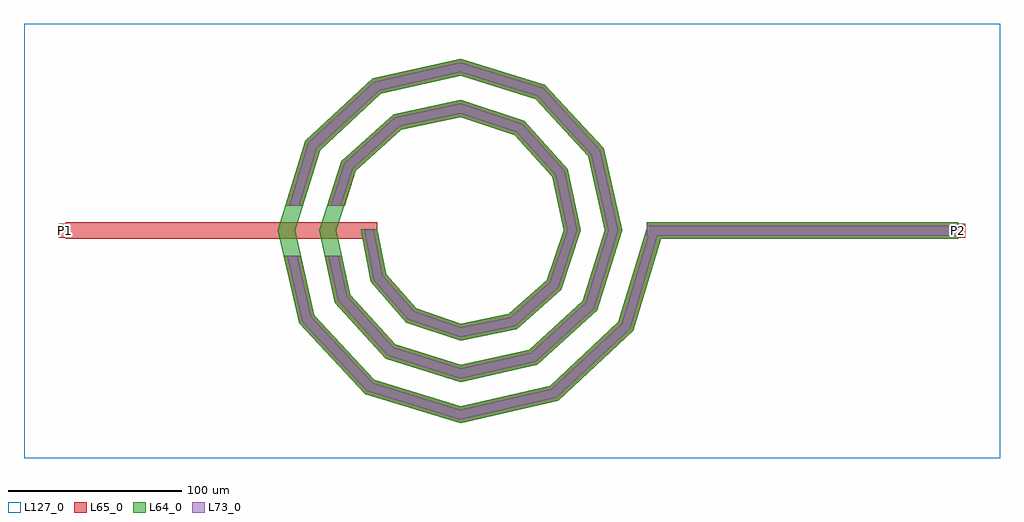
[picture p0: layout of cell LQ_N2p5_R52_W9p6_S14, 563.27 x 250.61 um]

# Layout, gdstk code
import gdstk
lib = gdstk.Library(unit=1e-6, precision=1e-09)
def R(c, l, rs):  # rectangles x0, y0, x1, y1
    for r in rs: c.add(gdstk.rectangle(r[:2], r[2:], *l))
def P(c, l, *ps):  # polygons
    for p in ps: c.add(gdstk.Polygon(p, *l))
L64_0 = (64, 0)
L65_0 = (65, 0)
L73_0 = (73, 0)
L127_0 = (127, 0)

lq_n2p5_r52_w9p6_s14 = lib.new_cell('LQ_N2p5_R52_W9p6_S14')
R(lq_n2p5_r52_w9p6_s14, L64_0, [(107.477,-4.8,287.477,4.8)])
P(lq_n2p5_r52_w9p6_s14, L64_0, [(-42.81,-25.106),(-25.526,-44.864),(0.315,-53.605),(28.06,-47.994),(50.015,-28.536),(59.571,0.286),(53.174,31.02),(31.542,55.17),(0.261,65.538),(-33.984,58.353),(-60.326,34.544),(-71.505,0.241),(-63.53,-36.951),(-37.543,-65.485),(0.224,-77.472),(39.92,-68.706),(70.645,-40.54),(83.44,0.209),(73.881,42.891),(43.536,75.806),(0.195,89.407),(-45.864,79.056),(-80.968,46.53),(-95.374,0.184),(-84.229,-48.838),(-49.523,-86.13),(0.173,-101.342),(51.813,-89.402),(91.294,-52.515),(107.684,1.396),(116.869,-1.396),(99.729,-57.772),(56.485,-98.175),(0.173,-111.275),(-54.796,-94.556),(-93.012,-53.492),(-105.307,0.184),(-89.382,51.821),(-50.498,87.849),(0.195,99.339),(48.848,84.207),(82.686,47.503),(93.371,0.209),(79.032,-45.875),(44.507,-77.525),(0.224,-87.402),(-42.905,-73.855),(-72.364,-41.508),(-81.434,0.241),(-68.677,39.936),(-38.507,67.205),(0.261,75.465),(36.971,63.497),(62.047,35.503),(69.496,0.286),(58.315,-34.008),(32.495,-56.891),(0.315,-63.527),(-31.05,-53.13),(-51.738,-29.481),(-57.309,0.919),(-47.887,0.919)])
R(lq_n2p5_r52_w9p6_s14, L65_0, [(-227.798,-4.8,-47.798,4.8), (107.477,-4.8,287.477,4.8), (-231.798,-4,-223.798,4), (283.477,-4,291.477,4)])
P(lq_n2p5_r52_w9p6_s14, L65_0, [(-84.229,-48.838),(-49.523,-86.13),(0.173,-101.342),(51.813,-89.402),(91.294,-52.515),(107.684,1.396),(116.869,-1.396),(99.73,-57.772),(56.485,-98.175),(0.173,-111.275),(-54.796,-94.556),(-93.012,-53.492),(-101.967,-14.4),(-92.118,-14.4)],
  [(-63.53,-36.951),(-37.543,-65.485),(0.224,-77.472),(39.92,-68.706),(70.645,-40.541),(83.44,0.209),(73.881,42.891),(43.536,75.806),(0.195,89.407),(-45.864,79.056),(-80.968,46.53),(-90.877,14.4),(-100.923,14.4),(-89.382,51.821),(-50.499,87.849),(0.195,99.339),(48.848,84.208),(82.686,47.504),(93.371,0.209),(79.032,-45.875),(44.507,-77.525),(0.224,-87.402),(-42.905,-73.855),(-72.364,-41.508),(-78.253,-14.4),(-68.429,-14.4)],
  [(-25.526,-44.864),(0.315,-53.605),(28.06,-47.994),(50.015,-28.536),(59.571,0.286),(53.174,31.02),(31.542,55.17),(0.261,65.538),(-33.984,58.353),(-60.326,34.544),(-66.8,14.4),(-76.884,14.4),(-68.677,39.936),(-38.507,67.205),(0.261,75.465),(36.971,63.497),(62.047,35.503),(69.496,0.286),(58.315,-34.008),(32.495,-56.891),(0.315,-63.527),(-31.05,-53.13),(-51.738,-29.481),(-57.309,0.919),(-47.887,0.919),(-42.81,-25.106)])
R(lq_n2p5_r52_w9p6_s14, L73_0, [(107.477,-2.8,287.477,2.8)])
P(lq_n2p5_r52_w9p6_s14, L73_0, [(-86.059,-49.808),(-50.622,-87.886),(0.101,-103.411),(52.786,-91.23),(93.051,-53.611),(109.598,0.815),(114.956,0.815),(97.972,-56.677),(55.512,-96.348),(0.101,-109.206),(-53.698,-92.801),(-91.182,-52.523),(-99.915,-14.4),(-94.17,-14.4)],
  [(-65.371,-37.9),(-38.66,-67.229),(0.13,-79.541),(40.875,-70.544),(72.392,-41.652),(85.509,0.122),(75.716,43.852),(44.643,77.556),(0.114,91.476),(-46.829,80.888),(-82.721,47.633),(-92.97,14.4),(-98.83,14.4),(-87.629,50.719),(-49.533,86.017),(0.114,97.27),(47.741,82.457),(80.852,46.543),(91.302,0.122),(77.285,-44.764),(43.551,-75.688),(0.13,-85.334),(-41.788,-72.111),(-70.524,-40.559),(-76.207,-14.4),(-70.476,-14.4)],
  [(-26.677,-46.586),(0.184,-55.672),(28.984,-49.847),(51.744,-29.676),(61.639,0.167),(55.023,31.954),(32.673,56.905),(0.153,67.606),(-34.926,60.197),(-62.066,35.667),(-68.901,14.4),(-74.783,14.4),(-66.937,38.813),(-37.565,65.361),(0.153,73.397),(35.84,61.762),(60.199,34.569),(67.428,0.167),(56.586,-32.868),(31.571,-55.037),(0.184,-61.46),(-29.9,-51.408),(-49.878,-28.57),(-55.346,0.536),(-49.85,0.536),(-44.67,-26.018)])
R(lq_n2p5_r52_w9p6_s14, L127_0, [(-251.798,-131.275,311.477,119.339)])
lq_n2p5_r52_w9p6_s14.add(gdstk.Label('P2', (287.477,0), layer=65, texttype=0))
lq_n2p5_r52_w9p6_s14.add(gdstk.Label('P1', (-227.798,0), layer=65, texttype=0))
lq_n2p5_r52_w9p6_s14.add(gdstk.Label('P2', (291.477,0), layer=145, texttype=0))
lq_n2p5_r52_w9p6_s14.add(gdstk.Label('P1', (-231.798,0), layer=145, texttype=0))

lib.write_gds('LQ_N2p5_R52_W9p6_S14.gds')
